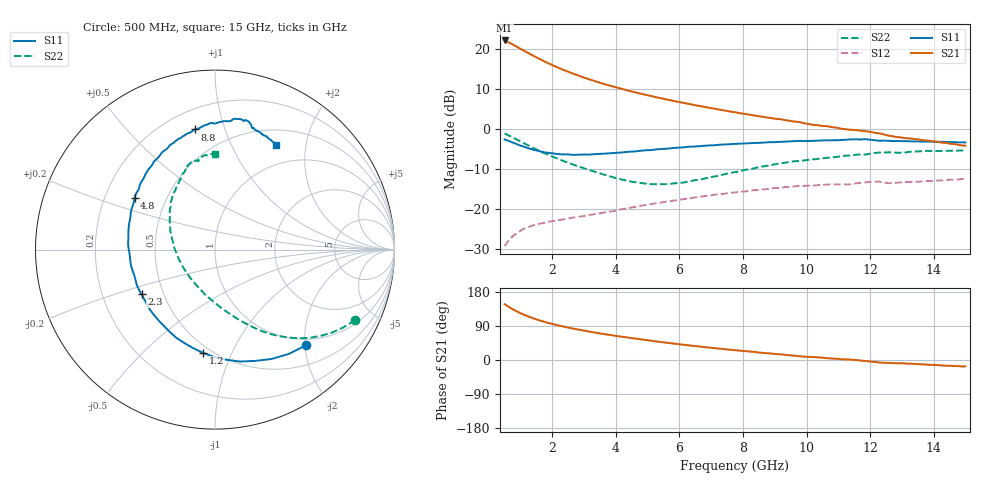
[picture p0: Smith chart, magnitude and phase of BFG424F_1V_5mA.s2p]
! Filename BFG424F_1V_5mA.prm
! Created	by	janssen	on	nov	2006
!	Column ranking S11, S21,S12,S22 both magnitude and phase.
!	VCE	=	1	V,	IC	=	5	mA
!	Common	Emitter	S-Parameters
#	GHz	S	MA	R	50
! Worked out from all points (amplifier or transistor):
!   146 points, 500 MHz to 15 GHz, reference 50 ohm
!   highest |S21| = 22.1 dB at 500 MHz (marker M1)
!   |S21| within 3 dB of that: start of sweep to 1.206 GHz
!   unconditionally stable (mu >= 1): 2.962 GHz to end of sweep
!   at 2.9 GHz: K = 0.98, MSG = 17.5 dB, |S12| = -21.9 dB
!   at 7.8 GHz: K = 1.34, MAG = 6.5 dB, |S12| = -15.9 dB
!   at 15 GHz: K = 1.74, MAG = -0.8 dB, |S12| = -12.6 dB
!   S11 on the Smith chart (normalised r, x): 500 MHz: 0.87, -2.02; 1.2 GHz: 0.45, -0.78; 2.3 GHz: 0.38, -0.24; 4.8 GHz: 0.33, +0.26; 8.8 GHz: 0.32, +0.79; 15 GHz: 0.70, +1.50
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0.5  0.736 -46.4  12.75 147.3  0.034 66.5  0.874 -26.7
0.6  0.712 -54.7  12.21 141.8  0.039 62.6  0.837 -31.1
0.7  0.686 -62.7  11.68 136.6  0.043 59.6  0.801 -35.1
0.8  0.659 -70.2  11.12 131.9  0.047 56.6  0.764 -38.8
1  0.617 -84.1  10.03 123.5  0.053 52.0  0.694 -45.3
1.2  0.579 -96.6  9.053 116.4  0.058 48.7  0.631 -50.8
1.4  0.548 -108.1  8.204 110.1  0.062 46.3  0.576 -55.5
1.5  0.537 -113.5  7.83 107.2  0.063 45.3  0.551 -57.7
1.7  0.513 -123.2  7.138 102.0  0.066 43.9  0.506 -61.7
2  0.494 -136.8  6.276 95.2  0.07 42.8  0.449 -67.1
2.3  0.479 -148.7  5.565 89.2  0.073 42.4  0.403 -72.4
2.6  0.474 -159.1  4.997 83.8  0.077 42.3  0.364 -77.5
3  0.476 -171.6  4.374 77.4  0.081 42.9  0.32 -85.0
3.8  0.494 167.5  3.478 66.2  0.092 44.2  0.256 -102.5
4.8  0.533 147.2  2.745 54.1  0.109 44.9  0.21 -130.9
5.4  0.557 137.5  2.427 47.6  0.119 44.4  0.203 -150.4
6.5  0.601 122.3  1.973 36.6  0.139 42.6  0.228 176.7
7.8  0.649 108.4  1.598 25.6  0.161 39.2  0.289 149.8
8.8  0.679 99.6  1.378 17.6  0.177 36.1  0.346 135.5
10.2  0.708 88.8  1.122 7.8  0.195 29.9  0.416 120.1
12.6  0.706 72.0  0.818 -7.8  0.208 21.2  0.508 102.1
15  0.675 59.9  0.616 -16.8  0.234 15.1  0.534 90.0
